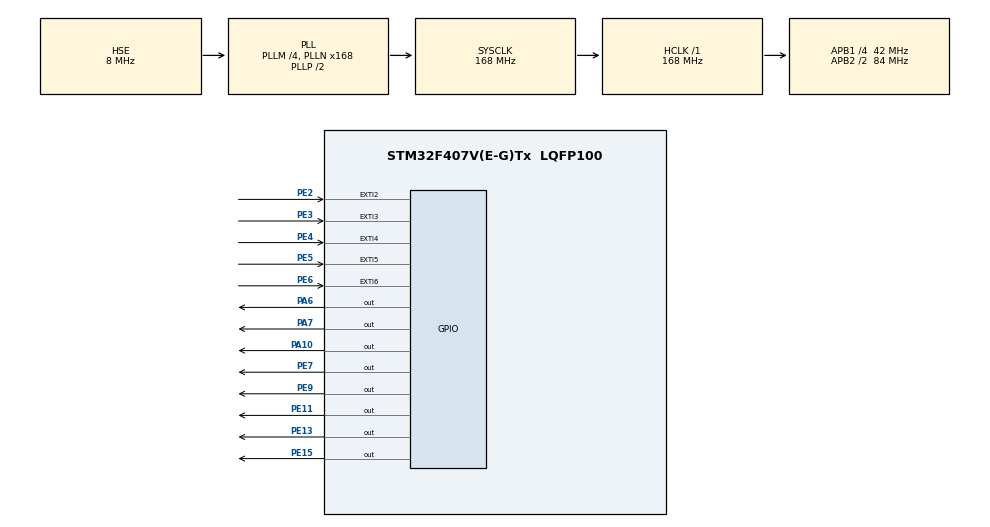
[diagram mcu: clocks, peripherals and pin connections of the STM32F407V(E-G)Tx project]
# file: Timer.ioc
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FREERTOS.Tasks01=defaultTask,24,128,StartDefaultTask,Default,NULL,Dynamic,NULL,NULL
FREERTOS.configTOTAL_HEAP_SIZE=32768
Mcu.Family=STM32F4
Mcu.Name=STM32F407V(E-G)Tx
Mcu.Package=LQFP100
NVIC.EXTI2_IRQn=true\:5\:0\:false\:true\:true\:1\:true\:true\:true
NVIC.EXTI3_IRQn=true\:5\:0\:false\:true\:true\:2\:true\:true\:true
NVIC.EXTI4_IRQn=true\:5\:0\:false\:true\:true\:3\:true\:true\:true
NVIC.EXTI9_5_IRQn=true\:5\:0\:false\:true\:true\:4\:true\:true\:true
NVIC.PriorityGroup=NVIC_PRIORITYGROUP_4
NVIC.TIM1_UP_TIM10_IRQn=true\:0\:0\:false\:false\:true\:false\:false\:true
NVIC.TimeBase=TIM1_UP_TIM10_IRQn
NVIC.TimeBaseIP=TIM1
PA10.GPIO_PuPd=GPIO_PULLUP
PA10.PinState=GPIO_PIN_SET
PA10.Signal=GPIO_Output
PA13.Mode=Trace_Asynchronous_SW
PA13.Signal=SYS_JTMS-SWDIO
PA14.Mode=Trace_Asynchronous_SW
PA14.Signal=SYS_JTCK-SWCLK
PA6.PinState=GPIO_PIN_SET
PA6.Signal=GPIO_Output
PA7.PinState=GPIO_PIN_RESET
PA7.Signal=GPIO_Output
PB3.Mode=Trace_Asynchronous_SW
PB3.Signal=SYS_JTDO-SWO
PC14-OSC32_IN.Mode=LSE-External-Oscillator
PC14-OSC32_IN.Signal=RCC_OSC32_IN
PC15-OSC32_OUT.Mode=LSE-External-Oscillator
PC15-OSC32_OUT.Signal=RCC_OSC32_OUT
PE11.Signal=GPIO_Output
PE13.Signal=GPIO_Output
PE15.Signal=GPIO_Output
PE2.Signal=GPXTI2
PE3.Signal=GPXTI3
PE4.Signal=GPXTI4
PE5.Signal=GPXTI5
PE6.GPIO_ModeDefaultEXTI=GPIO_MODE_IT_RISING_FALLING
PE6.Signal=GPXTI6
PE7.Signal=GPIO_Output
PE9.Signal=GPIO_Output
PH0-OSC_IN.Mode=HSE-External-Oscillator
PH0-OSC_IN.Signal=RCC_OSC_IN
PH1-OSC_OUT.Mode=HSE-External-Oscillator
PH1-OSC_OUT.Signal=RCC_OSC_OUT
ProjectManager.HeapSize=0x200
ProjectManager.StackSize=0x400
ProjectManager.TargetToolchain=STM32CubeIDE
RCC.48MHZClocksFreq_Value=48000000
RCC.AHBFreq_Value=168000000
RCC.APB1CLKDivider=RCC_HCLK_DIV4
RCC.APB1Freq_Value=42000000
RCC.APB1TimFreq_Value=84000000
RCC.APB2CLKDivider=RCC_HCLK_DIV2
RCC.APB2Freq_Value=84000000
RCC.APB2TimFreq_Value=168000000
RCC.CortexFreq_Value=168000000
RCC.HCLKFreq_Value=168000000
RCC.HSE_VALUE=8000000
RCC.HSI_VALUE=16000000
RCC.PLLM=4
RCC.PLLN=168
RCC.PLLQ=7
RCC.PLLSourceVirtual=RCC_PLLSOURCE_HSE
RCC.RCC_RTC_Clock_Source=RCC_RTCCLKSOURCE_LSE
RCC.RCC_RTC_Clock_SourceVirtual=RCC_RTCCLKSOURCE_LSE
RCC.SYSCLKFreq_VALUE=168000000
RCC.SYSCLKSource=RCC_SYSCLKSOURCE_PLLCLK
RCC.VCOOutputFreq_Value=336000000
STMicroelectronics.X-CUBE-TOUCHGFX.4.13.0.ApplicationCcGraphicsJjApplication=TouchGFXOoGenerator
STMicroelectronics.X-CUBE-TOUCHGFX.4.13.0.tgfx_custom_height=64
STMicroelectronics.X-CUBE-TOUCHGFX.4.13.0.tgfx_custom_width=192
STMicroelectronics.X-CUBE-TOUCHGFX.4.13.0.tgfx_pixel_format=BW\:1
VP_FREERTOS_VS_CMSIS_V2.Mode=CMSIS_V2
VP_RTC_VS_RTC_Activate.Mode=RTC_Enabled
VP_SYS_VS_tim1.Mode=TIM1
board=custom

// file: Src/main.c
/* USER CODE BEGIN Header */
/**
  ******************************************************************************
  * @file           : main.c
  * @brief          : Main program body
  ******************************************************************************
  * @attention
  *
  * <h2><center>&copy; Copyright (c) 2020 STMicroelectronics.
  * All rights reserved.</center></h2>
  *
  * This software component is licensed by ST under Ultimate Liberty license
  * SLA0044, the "License"; You may not use this file except in compliance with
  * the License. You may obtain a copy of the License at:
  *                             www.st.com/SLA0044
  *
  ******************************************************************************
  */
/* USER CODE END Header */

#include "main.h"
#include "cmsis_os.h"

/* USER CODE BEGIN Includes */
#include <stdio.h>
#include <string.h>
#include "lvgl.h"
#include "lcd.h"
/* USER CODE END Includes */

RTC_HandleTypeDef hrtc;

/* Definitions for defaultTask */
osThreadId_t defaultTaskHandle;
const osThreadAttr_t defaultTask_attributes = {
  .name = "defaultTask",
  .priority = (osPriority_t) osPriorityNormal,
  .stack_size = 128
};
/* USER CODE BEGIN PV */
osThreadId_t guiTaskHandle;
const osThreadAttr_t guiTask_attributes = {
  .name = "guiTask",
  .priority = (osPriority_t) osPriorityNormal,
  .stack_size = 512
};
/* USER CODE END PV */

void SystemClock_Config(void);
static void MX_GPIO_Init(void);
static void MX_RTC_Init(void);
void StartDefaultTask(void *argument);

static void MX_NVIC_Init(void);
/* USER CODE BEGIN PFP */
void StartGUITask(void *argument);
/* USER CODE END PFP */

/* USER CODE BEGIN 0 */
void reverseGPIO(GPIO_TypeDef* GPIOx, uint16_t GPIO_Pin)
{
	GPIO_PinState pinState = GPIO_PIN_RESET;
	pinState = HAL_GPIO_ReadPin(GPIOx, GPIO_Pin);
	pinState = pinState == GPIO_PIN_SET ? GPIO_PIN_RESET : GPIO_PIN_SET;
	HAL_GPIO_WritePin(GPIOx, GPIO_Pin, pinState);
}

int TimeReached(RTC_DateTypeDef *date, RTC_TimeTypeDef *time,
		RTC_DateTypeDef *date2Alarm, RTC_TimeTypeDef *time2Alarm)
{
	return (date->Year == date2Alarm->Year &&
		date->Month == date2Alarm->Month &&
		date->Date == date2Alarm->Date &&
		date->WeekDay == date2Alarm->WeekDay &&
		time->Hours == time2Alarm->Hours &&
		time->Minutes == time2Alarm->Minutes &&
		time->Seconds == time2Alarm->Seconds);
}
/* USER CODE END 0 */

int main(void)
{

  /* MCU Configuration--------------------------------------------------------*/

  /* Reset of all peripherals, Initializes the Flash interface and the Systick. */
  HAL_Init();

  /* Configure the system clock */
  SystemClock_Config();

  /* Initialize all configured peripherals */
  MX_GPIO_Init();
  MX_RTC_Init();

  /* Initialize interrupts */
  MX_NVIC_Init();
  /* Init scheduler */
  osKernelInitialize();

  /* Create the thread(s) */
  /* creation of defaultTask */
  defaultTaskHandle = osThreadNew(StartDefaultTask, NULL, &defaultTask_attributes);

  /* USER CODE BEGIN RTOS_THREADS */
  /* add threads, ... */
  guiTaskHandle = osThreadNew(StartGUITask, NULL, &guiTask_attributes);
  /* USER CODE END RTOS_THREADS */

  /* Start scheduler */
  osKernelStart();

  /* We should never get here as control is now taken by the scheduler */

  /* Infinite loop */
  while (1)
  {

  }
}

void SystemClock_Config(void)
{
  RCC_OscInitTypeDef RCC_OscInitStruct = {0};
  RCC_ClkInitTypeDef RCC_ClkInitStruct = {0};
  RCC_PeriphCLKInitTypeDef PeriphClkInitStruct = {0};

  /** Configure the main internal regulator output voltage
  */
  __HAL_RCC_PWR_CLK_ENABLE();
  __HAL_PWR_VOLTAGESCALING_CONFIG(PWR_REGULATOR_VOLTAGE_SCALE1);
  /** Initializes the CPU, AHB and APB busses clocks
  */
  RCC_OscInitStruct.OscillatorType = RCC_OSCILLATORTYPE_HSE|RCC_OSCILLATORTYPE_LSE;
  RCC_OscInitStruct.HSEState = RCC_HSE_ON;
  RCC_OscInitStruct.LSEState = RCC_LSE_ON;
  RCC_OscInitStruct.PLL.PLLState = RCC_PLL_ON;
  RCC_OscInitStruct.PLL.PLLSource = RCC_PLLSOURCE_HSE;
  RCC_OscInitStruct.PLL.PLLM = 4;
  RCC_OscInitStruct.PLL.PLLN = 168;
  RCC_OscInitStruct.PLL.PLLP = RCC_PLLP_DIV2;
  RCC_OscInitStruct.PLL.PLLQ = 7;
  if (HAL_RCC_OscConfig(&RCC_OscInitStruct) != HAL_OK)
  {
    Error_Handler();
  }
  /** Initializes the CPU, AHB and APB busses clocks
  */
  RCC_ClkInitStruct.ClockType = RCC_CLOCKTYPE_HCLK|RCC_CLOCKTYPE_SYSCLK
                              |RCC_CLOCKTYPE_PCLK1|RCC_CLOCKTYPE_PCLK2;
  RCC_ClkInitStruct.SYSCLKSource = RCC_SYSCLKSOURCE_PLLCLK;
  RCC_ClkInitStruct.AHBCLKDivider = RCC_SYSCLK_DIV1;
  RCC_ClkInitStruct.APB1CLKDivider = RCC_HCLK_DIV4;
  RCC_ClkInitStruct.APB2CLKDivider = RCC_HCLK_DIV2;

  if (HAL_RCC_ClockConfig(&RCC_ClkInitStruct, FLASH_LATENCY_5) != HAL_OK)
  {
    Error_Handler();
  }
  PeriphClkInitStruct.PeriphClockSelection = RCC_PERIPHCLK_RTC;
  PeriphClkInitStruct.RTCClockSelection = RCC_RTCCLKSOURCE_LSE;
  if (HAL_RCCEx_PeriphCLKConfig(&PeriphClkInitStruct) != HAL_OK)
  {
    Error_Handler();
  }
}

/**
  * @brief NVIC Configuration.
  * @retval None
  */
static void MX_NVIC_Init(void)
{
  /* EXTI2_IRQn interrupt configuration */
  HAL_NVIC_SetPriority(EXTI2_IRQn, 5, 0);
  HAL_NVIC_EnableIRQ(EXTI2_IRQn);
  /* EXTI3_IRQn interrupt configuration */
  HAL_NVIC_SetPriority(EXTI3_IRQn, 5, 0);
  HAL_NVIC_EnableIRQ(EXTI3_IRQn);
  /* EXTI4_IRQn interrupt configuration */
  HAL_NVIC_SetPriority(EXTI4_IRQn, 5, 0);
  HAL_NVIC_EnableIRQ(EXTI4_IRQn);
  /* EXTI9_5_IRQn interrupt configuration */
  HAL_NVIC_SetPriority(EXTI9_5_IRQn, 5, 0);
  HAL_NVIC_EnableIRQ(EXTI9_5_IRQn);
}

static void MX_RTC_Init(void)
{

  /** Initialize RTC Only
  */
  hrtc.Instance = RTC;
  hrtc.Init.HourFormat = RTC_HOURFORMAT_24;
  hrtc.Init.AsynchPrediv = 127;
  hrtc.Init.SynchPrediv = 255;
  hrtc.Init.OutPut = RTC_OUTPUT_DISABLE;
  hrtc.Init.OutPutPolarity = RTC_OUTPUT_POLARITY_HIGH;
  hrtc.Init.OutPutType = RTC_OUTPUT_TYPE_OPENDRAIN;
  if (HAL_RTC_Init(&hrtc) != HAL_OK)
  {
    Error_Handler();
  }

}

static void MX_GPIO_Init(void)
{
  GPIO_InitTypeDef GPIO_InitStruct = {0};

  /* GPIO Ports Clock Enable */
  __HAL_RCC_GPIOE_CLK_ENABLE();
  __HAL_RCC_GPIOC_CLK_ENABLE();
  __HAL_RCC_GPIOH_CLK_ENABLE();
  __HAL_RCC_GPIOA_CLK_ENABLE();
  __HAL_RCC_GPIOB_CLK_ENABLE();

  /*Configure GPIO pin Output Level */
  HAL_GPIO_WritePin(GPIOA, GPIO_PIN_6|GPIO_PIN_10, GPIO_PIN_SET);

  /*Configure GPIO pin Output Level */
  HAL_GPIO_WritePin(GPIOA, GPIO_PIN_7, GPIO_PIN_RESET);

  /*Configure GPIO pin Output Level */
  HAL_GPIO_WritePin(GPIOE, GPIO_PIN_7|GPIO_PIN_9|GPIO_PIN_11|GPIO_PIN_13
                          |GPIO_PIN_15, GPIO_PIN_RESET);

  /*Configure GPIO pins : PE2 PE3 PE4 PE5 */
  GPIO_InitStruct.Pin = GPIO_PIN_2|GPIO_PIN_3|GPIO_PIN_4|GPIO_PIN_5;
  GPIO_InitStruct.Mode = GPIO_MODE_IT_RISING;
  GPIO_InitStruct.Pull = GPIO_NOPULL;
  HAL_GPIO_Init(GPIOE, &GPIO_InitStruct);

  /*Configure GPIO pin : PE6 */
  GPIO_InitStruct.Pin = GPIO_PIN_6;
  GPIO_InitStruct.Mode = GPIO_MODE_IT_RISING_FALLING;
  GPIO_InitStruct.Pull = GPIO_NOPULL;
  HAL_GPIO_Init(GPIOE, &GPIO_InitStruct);

  /*Configure GPIO pins : PA6 PA7 */
  GPIO_InitStruct.Pin = GPIO_PIN_6|GPIO_PIN_7;
  GPIO_InitStruct.Mode = GPIO_MODE_OUTPUT_PP;
  GPIO_InitStruct.Pull = GPIO_NOPULL;
  GPIO_InitStruct.Speed = GPIO_SPEED_FREQ_LOW;
  HAL_GPIO_Init(GPIOA, &GPIO_InitStruct);

  /*Configure GPIO pins : PE7 PE9 PE11 PE13
                           PE15 */
  GPIO_InitStruct.Pin = GPIO_PIN_7|GPIO_PIN_9|GPIO_PIN_11|GPIO_PIN_13
                          |GPIO_PIN_15;
  GPIO_InitStruct.Mode = GPIO_MODE_OUTPUT_PP;
  GPIO_InitStruct.Pull = GPIO_NOPULL;
  GPIO_InitStruct.Speed = GPIO_SPEED_FREQ_LOW;
  HAL_GPIO_Init(GPIOE, &GPIO_InitStruct);

  /*Configure GPIO pin : PA10 */
  GPIO_InitStruct.Pin = GPIO_PIN_10;
  GPIO_InitStruct.Mode = GPIO_MODE_OUTPUT_PP;
  GPIO_InitStruct.Pull = GPIO_PULLUP;
  GPIO_InitStruct.Speed = GPIO_SPEED_FREQ_LOW;
  HAL_GPIO_Init(GPIOA, &GPIO_InitStruct);

}

/* USER CODE BEGIN 4 */
void my_disp_flush(struct _disp_drv_t * disp_drv, const lv_area_t * area, lv_color_t * color_p)
{
    int32_t x, y;
    for(y = area->y1; y <= area->y2; y++) {
        for(x = area->x1; x <= area->x2; x++) {
            //set_pixel(x, y, *color_p);  /* Put a pixel to the display.*/
            color_p++;
        }
    }

    lv_disp_flush_ready(disp_drv);         /* Indicate you are ready with the flushing*/
}

#define BUF_LENGTH 24
void StartGUITask(void *argument)
{
	/* USER CODE BEGIN 5 */
	int flag = 1;
	RTC_TimeTypeDef time;
	RTC_DateTypeDef date;
	RTC_TimeTypeDef time2Alarm;
	RTC_DateTypeDef date2Alarm;
	static char buf[BUF_LENGTH] = {0};
	/*
	date.Date = 13;
	date.Month = RTC_MONTH_FEBRUARY;
	date.Year = 50;
	date.WeekDay = RTC_WEEKDAY_THURSDAY;
	time.Hours = 10;
	time.Minutes = 49;
	time.Seconds = 00;
	HAL_RTC_SetTime(&hrtc, &time, RTC_FORMAT_BIN);
	HAL_RTC_SetDate(&hrtc, &date, RTC_FORMAT_BIN);
	*/
	date2Alarm.Date = 15;
	date2Alarm.Month = RTC_MONTH_FEBRUARY;
	date2Alarm.Year = 50;
	date2Alarm.WeekDay = RTC_WEEKDAY_SATURDAY;
	time2Alarm.Hours = 05;
	time2Alarm.Minutes = 30;
	time2Alarm.Seconds = 00;

	lv_init();
	static lv_disp_buf_t disp_buf;
	static lv_color_t displayBuf[LV_HOR_RES_MAX * 1];
	lv_disp_buf_init(&disp_buf, displayBuf, NULL, LV_HOR_RES_MAX * 1);
	lv_disp_drv_t disp_drv;               /* Descriptor of a display driver */
	lv_disp_drv_init(&disp_drv);          /* Basic initialization */
	disp_drv.flush_cb = my_disp_flush;    /* Set your driver function */
	disp_drv.buffer = &disp_buf;          /* Assign the buffer to the display */
	lv_disp_drv_register(&disp_drv);      /* Finally register the driver */

	LCD_Init();
	LCD_Clean(0x00);

	memset(buf, 0, BUF_LENGTH);
	snprintf(buf, BUF_LENGTH, "%04d-%02d-%02d %02d:%02d:%02d\n",
	  1970 + date2Alarm.Year, date2Alarm.Month, date2Alarm.Date,
	  time2Alarm.Hours, time2Alarm.Minutes, time2Alarm.Seconds);
	buf[strlen(buf) - 1] = '\0';
	LCD_Display_Ascii_16x8(5, 20, (unsigned char*)buf, 1);

	/* Infinite loop */
	for(;;)
	{
		lv_task_handler();

		HAL_RTC_GetTime(&hrtc, &time, RTC_FORMAT_BIN);
		HAL_RTC_GetDate(&hrtc, &date, RTC_FORMAT_BIN);
		memset(buf, 0, BUF_LENGTH);
		snprintf(buf, BUF_LENGTH, "%04d-%02d-%02d %02d:%02d:%02d\n",
		  1970 + date.Year, date.Month, date.Date,
		  time.Hours, time.Minutes, time.Seconds);
		buf[strlen(buf) - 1] = '\0';
		LCD_Display_Ascii_16x8(2, 20, (unsigned char*)buf, 1);

		if (TimeReached(&date, &time, &date2Alarm, &time2Alarm) && flag) {
			flag = 0;
			HAL_GPIO_WritePin(GPIOA, GPIO_PIN_10, GPIO_PIN_RESET);
			osDelay(1000);
			HAL_GPIO_WritePin(GPIOA, GPIO_PIN_10, GPIO_PIN_SET);
		} else {
			osDelay(1000);
		}
	}
	/* USER CODE END 5 */
}
/* USER CODE END 4 */

void StartDefaultTask(void *argument)
{
  /* USER CODE BEGIN 5 */
	/* Infinite loop */
	for(;;)
	{
		reverseGPIO(GPIOA, GPIO_PIN_6);
		reverseGPIO(GPIOA, GPIO_PIN_7);
		osDelay(1000);
	}
  /* USER CODE END 5 */
}

void HAL_TIM_PeriodElapsedCallback(TIM_HandleTypeDef *htim)
{
  if (htim->Instance == TIM1) {
    HAL_IncTick();
  }
  /* USER CODE BEGIN Callback 1 */
  if (htim->Instance == TIM1) {
    lv_tick_inc(1);
  }
  /* USER CODE END Callback 1 */
}

void Error_Handler(void)
{
}

/************************ (C) COPYRIGHT STMicroelectronics *****END OF FILE****/
